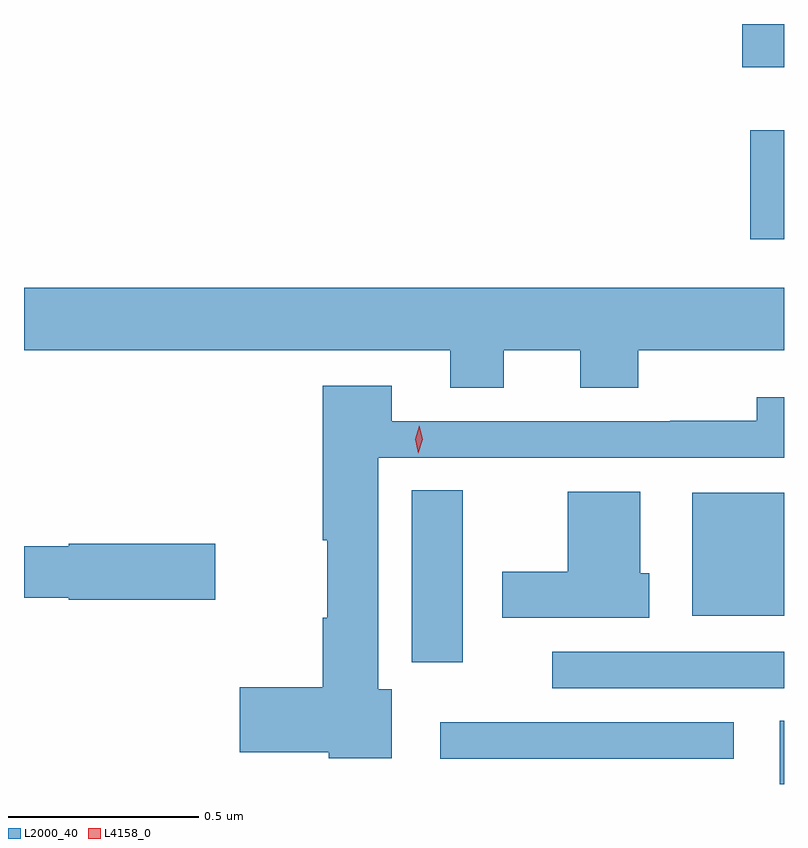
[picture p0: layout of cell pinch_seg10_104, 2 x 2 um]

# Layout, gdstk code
import gdstk
lib = gdstk.Library(unit=1e-6, precision=1e-09)
def R(c, l, rs):  # rectangles x0, y0, x1, y1
    for r in rs: c.add(gdstk.rectangle(r[:2], r[2:], *l))
def P(c, l, *ps):  # polygons
    for p in ps: c.add(gdstk.Polygon(p, *l))
L2000_40 = (2000, 40)
L4158_0 = (4158, 0)

pinch_seg10_104 = lib.new_cell('pinch_seg10_104')
R(pinch_seg10_104, L2000_40, [(712.229,1309.83,712.24,1309.997), (711.336,1309.896,712.108,1309.992), (711.63,1310.082,712.24,1310.178), (711.26,1310.151,711.394,1310.603), (711.998,1310.273,712.24,1310.596), (712.151,1311.264,712.24,1311.55), (712.13,1311.716,712.24,1311.83)])
P(pinch_seg10_104, L2000_40, [(711.502,1310.972),(711.704,1310.972),(711.704,1310.873),(711.857,1310.873),(711.857,1310.972),(712.24,1310.972),(712.24,1311.136),(710.24,1311.136),(710.24,1310.972),(711.362,1310.972),(711.362,1310.873),(711.502,1310.873)],
  [(711.208,1310.08),(711.172,1310.08),(711.172,1310.688),(712.24,1310.688),(712.24,1310.848),(712.168,1310.848),(712.168,1310.786),(711.94,1310.786),(711.94,1310.784),(711.208,1310.784),(711.208,1310.878),(711.026,1310.878),(711.026,1310.471),(711.038,1310.471),(711.038,1310.267),(711.026,1310.267),(711.026,1310.084),(710.808,1310.084),(710.808,1309.913),(711.042,1309.913),(711.042,1309.898),(711.208,1309.898)],
  [(711.886,1310.385),(711.862,1310.385),(711.862,1310.599),(711.671,1310.599),(711.671,1310.389),(711.498,1310.389),(711.498,1310.267),(711.886,1310.267)],
  [(710.743,1310.462),(710.358,1310.462),(710.358,1310.456),(710.24,1310.456),(710.24,1310.32),(710.358,1310.32),(710.358,1310.315),(710.743,1310.315)])
P(pinch_seg10_104, L4158_0, [(711.278,1310.701),(711.278,1310.701),(711.269,1310.737),(711.28,1310.773),(711.28,1310.773),(711.28,1310.773),(711.289,1310.737),(711.278,1310.701)])

lib.write_gds('pinch_seg10_104.gds')
